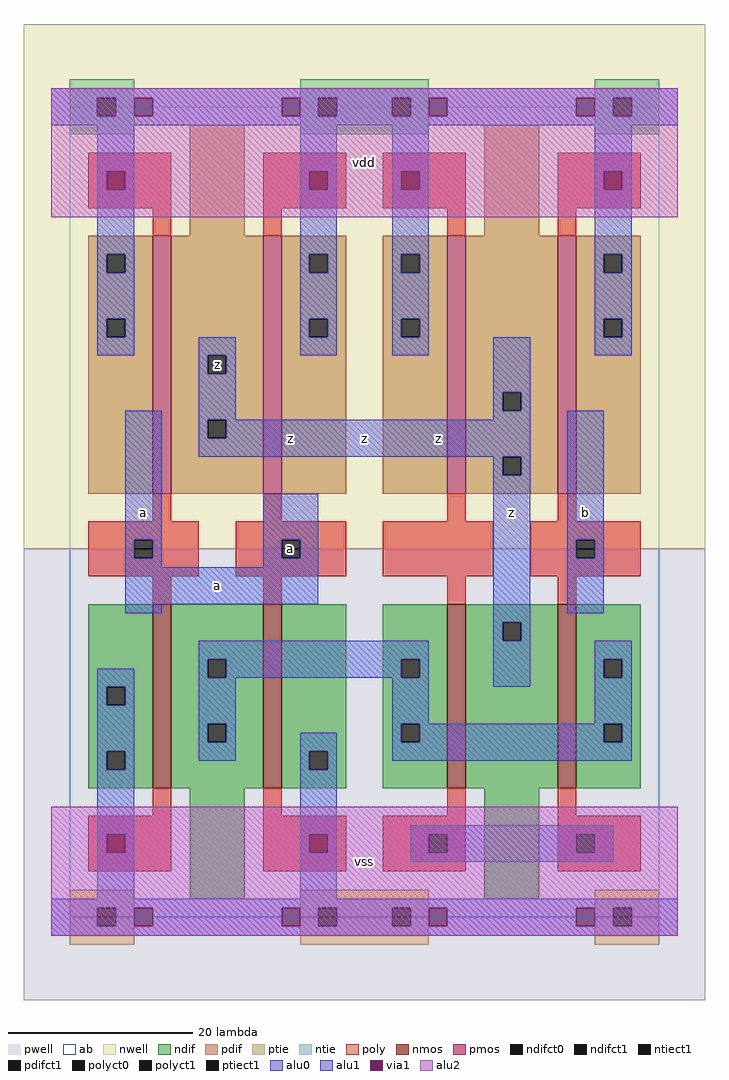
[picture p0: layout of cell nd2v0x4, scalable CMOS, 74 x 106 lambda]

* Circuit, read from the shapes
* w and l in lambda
.subckt nd2v0x4 a b vdd vss z
M1 n1 a vss vss nfet w=20 l=2 m=2
M2 z b n1 vss nfet w=20 l=2 m=2
M3 z a vdd vdd pfet w=28 l=2 m=2
M4 z b vdd vdd pfet w=28 l=2 m=2
.ends

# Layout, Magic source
magic
tech scmos
<< ab >>
rect 0 0 64 88
<< nwell >>
rect -5 40 69 97
<< pwell >>
rect -5 -9 69 40
<< poly >>
rect 2 77 11 83
rect 9 74 11 77
rect 21 77 30 83
rect 34 77 43 83
rect 21 74 23 77
rect 41 74 43 77
rect 53 77 62 83
rect 53 74 55 77
rect 9 43 11 46
rect 21 43 23 46
rect 41 43 43 46
rect 53 43 55 46
rect 2 41 14 43
rect 2 39 7 41
rect 9 39 14 41
rect 2 37 14 39
rect 18 41 30 43
rect 18 39 23 41
rect 25 39 30 41
rect 18 37 30 39
rect 34 37 46 43
rect 50 41 62 43
rect 50 39 55 41
rect 57 39 62 41
rect 50 37 62 39
rect 9 34 11 37
rect 21 34 23 37
rect 41 34 43 37
rect 53 34 55 37
rect 9 11 11 14
rect 2 5 11 11
rect 21 11 23 14
rect 41 11 43 14
rect 21 5 30 11
rect 34 9 43 11
rect 34 7 39 9
rect 41 7 43 9
rect 34 5 43 7
rect 53 11 55 14
rect 53 9 62 11
rect 53 7 55 9
rect 57 7 62 9
rect 53 5 62 7
<< ndif >>
rect 2 25 9 34
rect 2 23 4 25
rect 6 23 9 25
rect 2 18 9 23
rect 2 16 4 18
rect 6 16 9 18
rect 2 14 9 16
rect 11 28 21 34
rect 11 26 15 28
rect 17 26 21 28
rect 11 21 21 26
rect 11 19 15 21
rect 17 19 21 21
rect 11 14 21 19
rect 23 18 30 34
rect 23 16 26 18
rect 28 16 30 18
rect 23 14 30 16
rect 34 28 41 34
rect 34 26 36 28
rect 38 26 41 28
rect 34 21 41 26
rect 34 19 36 21
rect 38 19 41 21
rect 34 14 41 19
rect 43 32 53 34
rect 43 30 47 32
rect 49 30 53 32
rect 43 14 53 30
rect 55 28 62 34
rect 55 26 58 28
rect 60 26 62 28
rect 55 21 62 26
rect 55 19 58 21
rect 60 19 62 21
rect 55 14 62 19
rect 13 2 19 14
rect 45 2 51 14
<< pdif >>
rect 13 74 19 86
rect 45 74 51 86
rect 2 72 9 74
rect 2 70 4 72
rect 6 70 9 72
rect 2 65 9 70
rect 2 63 4 65
rect 6 63 9 65
rect 2 46 9 63
rect 11 61 21 74
rect 11 59 15 61
rect 17 59 21 61
rect 11 54 21 59
rect 11 52 15 54
rect 17 52 21 54
rect 11 46 21 52
rect 23 72 30 74
rect 23 70 26 72
rect 28 70 30 72
rect 23 65 30 70
rect 23 63 26 65
rect 28 63 30 65
rect 23 46 30 63
rect 34 72 41 74
rect 34 70 36 72
rect 38 70 41 72
rect 34 65 41 70
rect 34 63 36 65
rect 38 63 41 65
rect 34 46 41 63
rect 43 57 53 74
rect 43 55 47 57
rect 49 55 53 57
rect 43 50 53 55
rect 43 48 47 50
rect 49 48 53 50
rect 43 46 53 48
rect 55 72 62 74
rect 55 70 58 72
rect 60 70 62 72
rect 55 65 62 70
rect 55 63 58 65
rect 60 63 62 65
rect 55 46 62 63
<< alu1 >>
rect -2 89 66 90
rect -2 87 3 89
rect 5 87 7 89
rect 9 87 23 89
rect 25 87 27 89
rect 29 87 35 89
rect 37 87 39 89
rect 41 87 55 89
rect 57 87 59 89
rect 61 87 66 89
rect -2 86 66 87
rect 3 81 7 86
rect 3 79 4 81
rect 6 79 7 81
rect 3 72 7 79
rect 3 70 4 72
rect 6 70 7 72
rect 3 65 7 70
rect 3 63 4 65
rect 6 63 7 65
rect 25 81 29 86
rect 25 79 26 81
rect 28 79 29 81
rect 25 72 29 79
rect 25 70 26 72
rect 28 70 29 72
rect 25 65 29 70
rect 25 63 26 65
rect 28 63 29 65
rect 3 61 7 63
rect 14 61 18 63
rect 25 61 29 63
rect 35 81 39 86
rect 35 79 36 81
rect 38 79 39 81
rect 35 72 39 79
rect 35 70 36 72
rect 38 70 39 72
rect 35 65 39 70
rect 35 63 36 65
rect 38 63 39 65
rect 57 81 61 86
rect 57 79 58 81
rect 60 79 61 81
rect 57 72 61 79
rect 57 70 58 72
rect 60 70 61 72
rect 57 65 61 70
rect 57 63 58 65
rect 60 63 61 65
rect 35 61 39 63
rect 14 59 15 61
rect 17 59 18 61
rect 6 41 10 55
rect 14 54 18 59
rect 46 57 50 63
rect 57 61 61 63
rect 46 55 47 57
rect 49 55 50 57
rect 46 54 50 55
rect 14 52 15 54
rect 17 52 50 54
rect 14 50 50 52
rect 46 48 47 50
rect 49 48 50 50
rect 6 39 7 41
rect 9 39 10 41
rect 6 38 10 39
rect 21 41 27 46
rect 21 39 23 41
rect 25 39 27 41
rect 21 38 27 39
rect 6 34 27 38
rect 6 33 10 34
rect 46 32 50 48
rect 54 41 58 55
rect 54 39 55 41
rect 57 39 58 41
rect 54 33 58 39
rect 46 30 47 32
rect 49 30 50 32
rect 3 25 7 27
rect 3 23 4 25
rect 6 23 7 25
rect 3 18 7 23
rect 3 16 4 18
rect 6 16 7 18
rect 46 25 50 30
rect 25 18 29 20
rect 3 9 7 16
rect 3 7 4 9
rect 6 7 7 9
rect 3 2 7 7
rect 25 16 26 18
rect 28 16 29 18
rect 25 9 29 16
rect 25 7 26 9
rect 28 7 29 9
rect 25 2 29 7
rect -2 1 66 2
rect -2 -1 3 1
rect 5 -1 7 1
rect 9 -1 23 1
rect 25 -1 27 1
rect 29 -1 35 1
rect 37 -1 39 1
rect 41 -1 55 1
rect 57 -1 59 1
rect 61 -1 66 1
rect -2 -2 66 -1
<< alu2 >>
rect -2 89 66 90
rect -2 87 7 89
rect 9 87 23 89
rect 25 87 39 89
rect 41 87 55 89
rect 57 87 66 89
rect -2 81 66 87
rect -2 79 4 81
rect 6 79 26 81
rect 28 79 36 81
rect 38 79 58 81
rect 60 79 66 81
rect -2 76 66 79
rect -2 9 66 12
rect -2 7 4 9
rect 6 7 26 9
rect 28 7 66 9
rect -2 1 66 7
rect -2 -1 7 1
rect 9 -1 23 1
rect 25 -1 39 1
rect 41 -1 55 1
rect 57 -1 66 1
rect -2 -2 66 -1
<< ptie >>
rect 0 1 7 3
rect 0 -1 3 1
rect 5 -1 7 1
rect 0 -3 7 -1
rect 25 1 39 3
rect 25 -1 27 1
rect 29 -1 35 1
rect 37 -1 39 1
rect 25 -3 39 -1
rect 57 1 64 3
rect 57 -1 59 1
rect 61 -1 64 1
rect 57 -3 64 -1
<< ntie >>
rect 0 89 7 91
rect 0 87 3 89
rect 5 87 7 89
rect 0 85 7 87
rect 25 89 39 91
rect 25 87 27 89
rect 29 87 35 89
rect 37 87 39 89
rect 25 85 39 87
rect 57 89 64 91
rect 57 87 59 89
rect 61 87 64 89
rect 57 85 64 87
<< nmos >>
rect 9 14 11 34
rect 21 14 23 34
rect 41 14 43 34
rect 53 14 55 34
<< pmos >>
rect 9 46 11 74
rect 21 46 23 74
rect 41 46 43 74
rect 53 46 55 74
<< polyct0 >>
rect 39 7 41 9
rect 55 7 57 9
<< polyct1 >>
rect 7 39 9 41
rect 23 39 25 41
rect 55 39 57 41
<< ndifct0 >>
rect 15 26 17 28
rect 15 19 17 21
rect 36 26 38 28
rect 36 19 38 21
rect 58 26 60 28
rect 58 19 60 21
<< ndifct1 >>
rect 4 23 6 25
rect 4 16 6 18
rect 26 16 28 18
rect 47 30 49 32
<< ntiect1 >>
rect 3 87 5 89
rect 27 87 29 89
rect 35 87 37 89
rect 59 87 61 89
<< ptiect1 >>
rect 3 -1 5 1
rect 27 -1 29 1
rect 35 -1 37 1
rect 59 -1 61 1
<< pdifct1 >>
rect 4 70 6 72
rect 4 63 6 65
rect 15 59 17 61
rect 15 52 17 54
rect 26 70 28 72
rect 26 63 28 65
rect 36 70 38 72
rect 36 63 38 65
rect 47 55 49 57
rect 47 48 49 50
rect 58 70 60 72
rect 58 63 60 65
<< alu0 >>
rect 14 28 39 30
rect 14 26 15 28
rect 17 26 36 28
rect 38 26 39 28
rect 14 21 18 26
rect 14 19 15 21
rect 17 19 18 21
rect 35 21 39 26
rect 57 28 61 30
rect 57 26 58 28
rect 60 26 61 28
rect 57 21 61 26
rect 14 17 18 19
rect 35 19 36 21
rect 38 19 58 21
rect 60 19 61 21
rect 35 17 61 19
rect 37 9 59 10
rect 37 7 39 9
rect 41 7 55 9
rect 57 7 59 9
rect 37 6 59 7
<< via1 >>
rect 7 87 9 89
rect 23 87 25 89
rect 39 87 41 89
rect 55 87 57 89
rect 4 79 6 81
rect 26 79 28 81
rect 36 79 38 81
rect 58 79 60 81
rect 4 7 6 9
rect 26 7 28 9
rect 7 -1 9 1
rect 23 -1 25 1
rect 39 -1 41 1
rect 55 -1 57 1
<< labels >>
rlabel alu1 8 44 8 44 6 a
rlabel alu1 16 36 16 36 6 a
rlabel polyct1 24 40 24 40 6 a
rlabel pdifct1 16 60 16 60 6 z
rlabel alu1 24 52 24 52 6 z
rlabel alu1 32 52 32 52 6 z
rlabel alu1 40 52 40 52 6 z
rlabel alu1 56 44 56 44 6 b
rlabel alu1 48 44 48 44 6 z
rlabel alu2 32 6 32 6 6 vss
rlabel alu2 32 82 32 82 6 vdd
<< end >>
